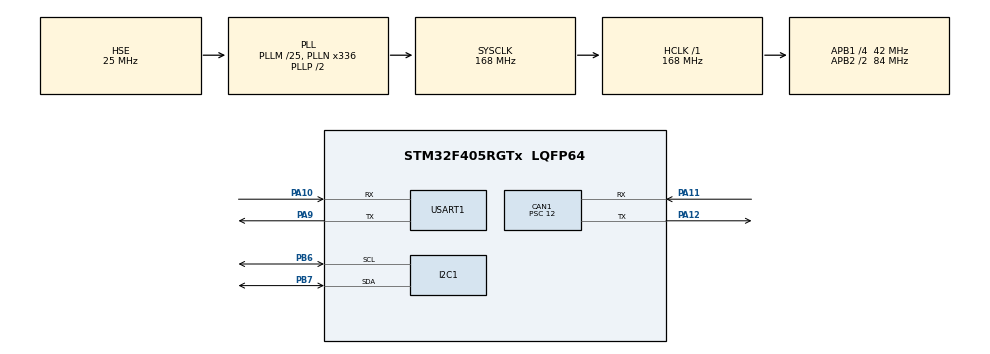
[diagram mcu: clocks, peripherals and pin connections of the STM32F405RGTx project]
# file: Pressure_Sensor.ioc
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CAN1.BS1=CAN_BS1_5TQ
CAN1.CalculateBaudRate=500000
CAN1.CalculateTimeBit=2000
CAN1.CalculateTimeQuantum=285.7142857142857
CAN1.Prescaler=12
Mcu.Family=STM32F4
Mcu.Name=STM32F405RGTx
Mcu.Package=LQFP64
NVIC.PriorityGroup=NVIC_PRIORITYGROUP_4
PA10.Mode=Asynchronous
PA10.Signal=USART1_RX
PA11.Mode=CAN_Activate
PA11.Signal=CAN1_RX
PA12.Mode=CAN_Activate
PA12.Signal=CAN1_TX
PA13.Mode=Serial_Wire
PA13.Signal=SYS_JTMS-SWDIO
PA14.Mode=Serial_Wire
PA14.Signal=SYS_JTCK-SWCLK
PA9.Mode=Asynchronous
PA9.Signal=USART1_TX
PB6.Mode=I2C
PB6.Signal=I2C1_SCL
PB7.Mode=I2C
PB7.Signal=I2C1_SDA
PH0-OSC_IN.Mode=HSE-External-Oscillator
PH0-OSC_IN.Signal=RCC_OSC_IN
PH1-OSC_OUT.Mode=HSE-External-Oscillator
PH1-OSC_OUT.Signal=RCC_OSC_OUT
ProjectManager.HeapSize=0x200
ProjectManager.StackSize=0x400
ProjectManager.TargetToolchain=STM32CubeIDE
RCC.48MHZClocksFreq_Value=84000000
RCC.AHBFreq_Value=168000000
RCC.APB1CLKDivider=RCC_HCLK_DIV4
RCC.APB1Freq_Value=42000000
RCC.APB1TimFreq_Value=84000000
RCC.APB2CLKDivider=RCC_HCLK_DIV2
RCC.APB2Freq_Value=84000000
RCC.APB2TimFreq_Value=168000000
RCC.CortexFreq_Value=168000000
RCC.HCLKFreq_Value=168000000
RCC.HSE_VALUE=25000000
RCC.HSI_VALUE=16000000
RCC.LSE_VALUE=32768
RCC.PLLM=25
RCC.PLLN=336
RCC.PLLSourceVirtual=RCC_PLLSOURCE_HSE
RCC.SYSCLKFreq_VALUE=168000000
RCC.SYSCLKSource=RCC_SYSCLKSOURCE_PLLCLK
RCC.VCOOutputFreq_Value=336000000
USART1.VirtualMode=VM_ASYNC
board=custom

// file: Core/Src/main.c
/* USER CODE BEGIN Header */
/**
  ******************************************************************************
  * @file           : main.c
  * @brief          : Main program body
  ******************************************************************************
  * @attention
  *
  * Copyright (c) 2026 STMicroelectronics.
  * All rights reserved.
  *
  * This software is licensed under terms that can be found in the LICENSE file
  * in the root directory of this software component.
  * If no LICENSE file comes with this software, it is provided AS-IS.
  *
  ******************************************************************************
  */
/* USER CODE END Header */
#include "main.h"

/* USER CODE BEGIN Includes */
#include "CAN.h"
#include "Sensor.h"

/* USER CODE END Includes */

/* USER CODE BEGIN PD */
sensor_info_t sensor_info;
can_id_lookup_t can_id_lookup = {
		.message_1_id = 123,
		.message_2_id = 124,
		.message_3_id = 125,
		.message_4_id = 126
};
can_message_t can_message = {
		.tx_header.StdId = 0,
		.tx_header.ExtId = 0,
		.tx_header.IDE = CAN_ID_STD,
		.tx_header.RTR = CAN_RTR_DATA,
		.tx_header.DLC = 8
};

mux_addr_t mux_addr = {
		.A = ( 0x70 << 1),
		.B = ( 0x77 << 1),
		.C = ( 0x71 << 1),
		.D = ( 0x73 << 1)
};

/* USER CODE END PD */

CAN_HandleTypeDef hcan1;

I2C_HandleTypeDef hi2c1;

UART_HandleTypeDef huart1;

void SystemClock_Config(void);
static void MX_GPIO_Init(void);
static void MX_CAN1_Init(void);
static void MX_I2C1_Init(void);
static void MX_USART1_UART_Init(void);

int main(void)
{

  /* MCU Configuration--------------------------------------------------------*/

  /* Reset of all peripherals, Initializes the Flash interface and the Systick. */
  HAL_Init();

  /* Configure the system clock */
  SystemClock_Config();

  /* Initialize all configured peripherals */
  MX_GPIO_Init();
  MX_CAN1_Init();
  MX_I2C1_Init();
  MX_USART1_UART_Init();
  /* USER CODE BEGIN 2 */
  uint16_t tick, hi;
  HAL_CAN_Start(&hcan1);
  /* USER CODE END 2 */

  /* Infinite loop */
  /* USER CODE BEGIN WHILE */
  while (1)
  {
	  sensor_get_psi(&sensor_info, mux_addr.A, 0);
	  sensor_get_psi(&sensor_info, mux_addr.B, 1);
	  can_send(&sensor_info, &can_id_lookup, &can_message);
	  HAL_Delay(100);
    /* USER CODE END WHILE */

  }
}

void SystemClock_Config(void)
{
  RCC_OscInitTypeDef RCC_OscInitStruct = {0};
  RCC_ClkInitTypeDef RCC_ClkInitStruct = {0};

  /** Configure the main internal regulator output voltage
  */
  __HAL_RCC_PWR_CLK_ENABLE();
  __HAL_PWR_VOLTAGESCALING_CONFIG(PWR_REGULATOR_VOLTAGE_SCALE1);

  /** Initializes the RCC Oscillators according to the specified parameters
  * in the RCC_OscInitTypeDef structure.
  */
  RCC_OscInitStruct.OscillatorType = RCC_OSCILLATORTYPE_HSE;
  RCC_OscInitStruct.HSEState = RCC_HSE_ON;
  RCC_OscInitStruct.PLL.PLLState = RCC_PLL_ON;
  RCC_OscInitStruct.PLL.PLLSource = RCC_PLLSOURCE_HSE;
  RCC_OscInitStruct.PLL.PLLM = 25;
  RCC_OscInitStruct.PLL.PLLN = 336;
  RCC_OscInitStruct.PLL.PLLP = RCC_PLLP_DIV2;
  RCC_OscInitStruct.PLL.PLLQ = 4;
  if (HAL_RCC_OscConfig(&RCC_OscInitStruct) != HAL_OK)
  {
    Error_Handler();
  }

  /** Initializes the CPU, AHB and APB buses clocks
  */
  RCC_ClkInitStruct.ClockType = RCC_CLOCKTYPE_HCLK|RCC_CLOCKTYPE_SYSCLK
                              |RCC_CLOCKTYPE_PCLK1|RCC_CLOCKTYPE_PCLK2;
  RCC_ClkInitStruct.SYSCLKSource = RCC_SYSCLKSOURCE_PLLCLK;
  RCC_ClkInitStruct.AHBCLKDivider = RCC_SYSCLK_DIV1;
  RCC_ClkInitStruct.APB1CLKDivider = RCC_HCLK_DIV4;
  RCC_ClkInitStruct.APB2CLKDivider = RCC_HCLK_DIV2;

  if (HAL_RCC_ClockConfig(&RCC_ClkInitStruct, FLASH_LATENCY_5) != HAL_OK)
  {
    Error_Handler();
  }
}

static void MX_CAN1_Init(void)
{

  hcan1.Instance = CAN1;
  hcan1.Init.Prescaler = 12;
  hcan1.Init.Mode = CAN_MODE_NORMAL;
  hcan1.Init.SyncJumpWidth = CAN_SJW_1TQ;
  hcan1.Init.TimeSeg1 = CAN_BS1_5TQ;
  hcan1.Init.TimeSeg2 = CAN_BS2_1TQ;
  hcan1.Init.TimeTriggeredMode = DISABLE;
  hcan1.Init.AutoBusOff = DISABLE;
  hcan1.Init.AutoWakeUp = DISABLE;
  hcan1.Init.AutoRetransmission = DISABLE;
  hcan1.Init.ReceiveFifoLocked = DISABLE;
  hcan1.Init.TransmitFifoPriority = DISABLE;
  if (HAL_CAN_Init(&hcan1) != HAL_OK)
  {
    Error_Handler();
  }

}

static void MX_I2C1_Init(void)
{

  hi2c1.Instance = I2C1;
  hi2c1.Init.ClockSpeed = 100000;
  hi2c1.Init.DutyCycle = I2C_DUTYCYCLE_2;
  hi2c1.Init.OwnAddress1 = 0;
  hi2c1.Init.AddressingMode = I2C_ADDRESSINGMODE_7BIT;
  hi2c1.Init.DualAddressMode = I2C_DUALADDRESS_DISABLE;
  hi2c1.Init.OwnAddress2 = 0;
  hi2c1.Init.GeneralCallMode = I2C_GENERALCALL_DISABLE;
  hi2c1.Init.NoStretchMode = I2C_NOSTRETCH_DISABLE;
  if (HAL_I2C_Init(&hi2c1) != HAL_OK)
  {
    Error_Handler();
  }

}

static void MX_USART1_UART_Init(void)
{

  huart1.Instance = USART1;
  huart1.Init.BaudRate = 115200;
  huart1.Init.WordLength = UART_WORDLENGTH_8B;
  huart1.Init.StopBits = UART_STOPBITS_1;
  huart1.Init.Parity = UART_PARITY_NONE;
  huart1.Init.Mode = UART_MODE_TX_RX;
  huart1.Init.HwFlowCtl = UART_HWCONTROL_NONE;
  huart1.Init.OverSampling = UART_OVERSAMPLING_16;
  if (HAL_UART_Init(&huart1) != HAL_OK)
  {
    Error_Handler();
  }

}

static void MX_GPIO_Init(void)
{

  /* GPIO Ports Clock Enable */
  __HAL_RCC_GPIOH_CLK_ENABLE();
  __HAL_RCC_GPIOA_CLK_ENABLE();
  __HAL_RCC_GPIOB_CLK_ENABLE();

}

void Error_Handler(void)
{
  __disable_irq();
  while (1)
  {
  }
}
